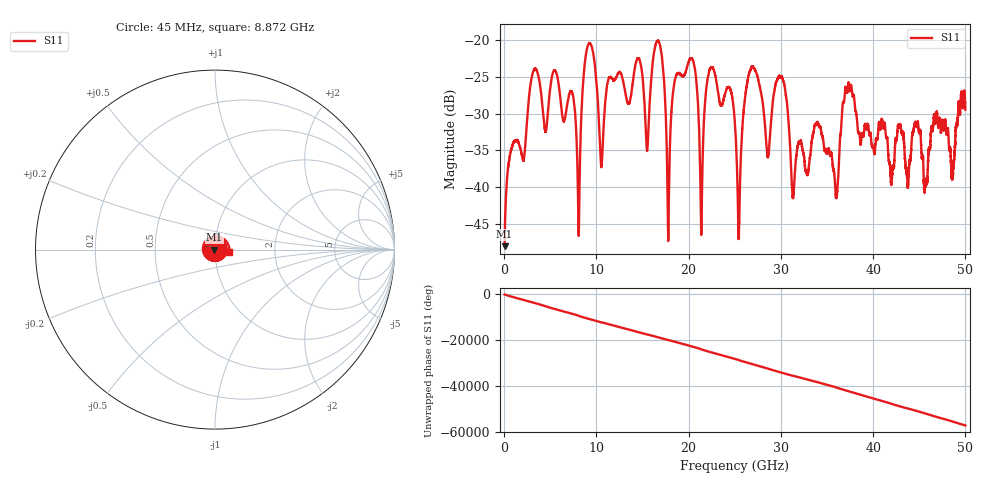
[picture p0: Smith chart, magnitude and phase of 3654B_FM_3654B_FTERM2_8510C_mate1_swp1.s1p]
!Created with skrf (http://scikit-rf.org).
# Hz S RI R 50.0
!freq ReS11 ImS11
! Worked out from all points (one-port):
!   10001 points, 45 MHz to 50 GHz, reference 50 ohm
!   lowest |S11| = -48.1 dB at 45 MHz (marker M1), VSWR 1.01, Z = 49.6 - j0.0915 ohm
!   |S11| at or under -10 dB: start of sweep to end of sweep
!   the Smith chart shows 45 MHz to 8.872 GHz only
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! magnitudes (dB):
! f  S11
! 45 MHz  -48.1
! 3.212 GHz  -24.1
! 6.289 GHz  -30.2
! 7.408 GHz  -27.3
! 8.058 GHz  -45.7
! 9.102 GHz  -20.6
! 10.53 GHz  -37.3
! 12.53 GHz  -24.3
! 14.65 GHz  -22.5
! 15.5 GHz  -35.0
! 16.76 GHz  -20.1
! 17.8 GHz  -46.2
! 18.78 GHz  -24.5
! 20.55 GHz  -23.0
! 21.37 GHz  -46.5
! 22.41 GHz  -23.8
! 25.02 GHz  -31.6
! 25.44 GHz  -46.7
! 26.68 GHz  -24.1
! 28.58 GHz  -35.9
! 30.01 GHz  -25.0
! 31.27 GHz  -41.2
! 33.89 GHz  -31.2
! 36.02 GHz  -41.4
! 37.51 GHz  -26.8
! 43.76 GHz  -39.9
! 48.63 GHz  -38.4
! 50 GHz  -29.4
